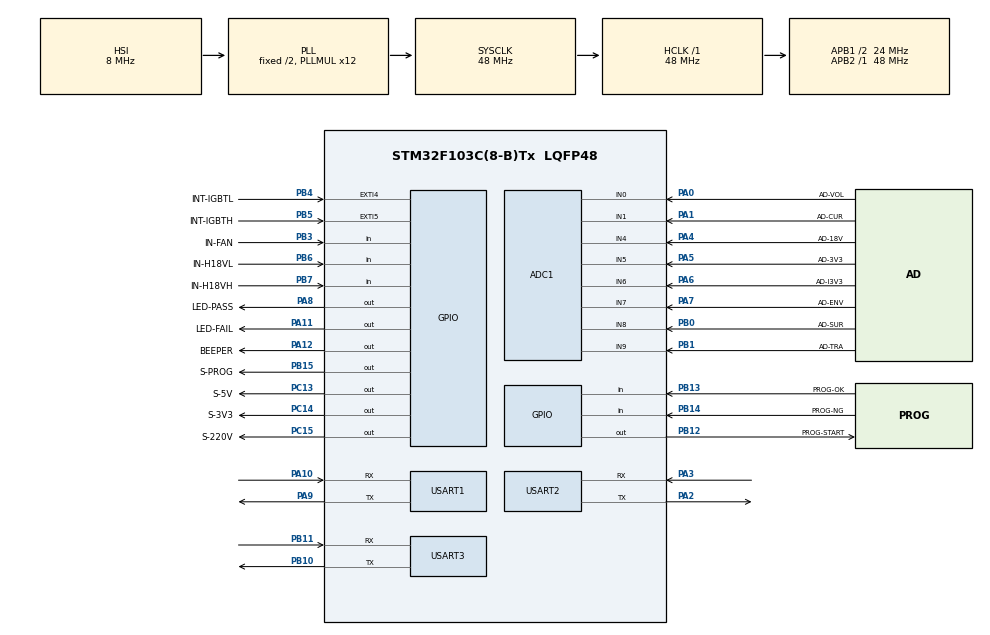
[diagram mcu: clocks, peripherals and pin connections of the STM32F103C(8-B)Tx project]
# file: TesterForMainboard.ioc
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ADC1.Channel-0\#ChannelRegularConversion=ADC_CHANNEL_0
ADC1.ContinuousConvMode=DISABLE
ADC1.DataAlign=ADC_DATAALIGN_RIGHT
ADC1.DiscontinuousConvMode=DISABLE
ADC1.EnableAnalogWatchDog=false
ADC1.EnableRegularConversion=ENABLE
ADC1.ExternalTrigConv=ADC_SOFTWARE_START
ADC1.ExternalTrigConvEdgeChoice=NONE
ADC1.InjNumberOfConversion=0
ADC1.NbrOfConversion=1
ADC1.NbrOfConversionFlag=1
ADC1.Rank-0\#ChannelRegularConversion=1
ADC1.SamplingTime-0\#ChannelRegularConversion=ADC_SAMPLETIME_1CYCLE_5
ADC1.ScanConvMode=ADC_SCAN_DISABLE
ADC1.master=1
Dma.ADC1.6.Direction=DMA_PERIPH_TO_MEMORY
Dma.ADC1.6.Instance=DMA1_Channel1
Dma.ADC1.6.MemDataAlignment=DMA_MDATAALIGN_HALFWORD
Dma.ADC1.6.MemInc=DMA_MINC_ENABLE
Dma.ADC1.6.Mode=DMA_CIRCULAR
Dma.ADC1.6.PeriphDataAlignment=DMA_PDATAALIGN_HALFWORD
Dma.ADC1.6.PeriphInc=DMA_PINC_DISABLE
Dma.ADC1.6.Priority=DMA_PRIORITY_LOW
Dma.Request0=USART2_RX
Dma.Request1=USART2_TX
Dma.Request2=USART3_RX
Dma.Request3=USART3_TX
Dma.Request4=USART1_RX
Dma.Request5=USART1_TX
Dma.Request6=ADC1
Dma.USART1_RX.4.Direction=DMA_PERIPH_TO_MEMORY
Dma.USART1_RX.4.Instance=DMA1_Channel5
Dma.USART1_RX.4.MemDataAlignment=DMA_MDATAALIGN_BYTE
Dma.USART1_RX.4.MemInc=DMA_MINC_ENABLE
Dma.USART1_RX.4.Mode=DMA_NORMAL
Dma.USART1_RX.4.PeriphDataAlignment=DMA_PDATAALIGN_BYTE
Dma.USART1_RX.4.PeriphInc=DMA_PINC_DISABLE
Dma.USART1_RX.4.Priority=DMA_PRIORITY_LOW
Dma.USART1_TX.5.Direction=DMA_MEMORY_TO_PERIPH
Dma.USART1_TX.5.Instance=DMA1_Channel4
Dma.USART1_TX.5.MemDataAlignment=DMA_MDATAALIGN_BYTE
Dma.USART1_TX.5.MemInc=DMA_MINC_ENABLE
Dma.USART1_TX.5.Mode=DMA_NORMAL
Dma.USART1_TX.5.PeriphDataAlignment=DMA_PDATAALIGN_BYTE
Dma.USART1_TX.5.PeriphInc=DMA_PINC_DISABLE
Dma.USART1_TX.5.Priority=DMA_PRIORITY_LOW
Dma.USART2_RX.0.Direction=DMA_PERIPH_TO_MEMORY
Dma.USART2_RX.0.Instance=DMA1_Channel6
Dma.USART2_RX.0.MemDataAlignment=DMA_MDATAALIGN_BYTE
Dma.USART2_RX.0.MemInc=DMA_MINC_ENABLE
Dma.USART2_RX.0.Mode=DMA_NORMAL
Dma.USART2_RX.0.PeriphDataAlignment=DMA_PDATAALIGN_BYTE
Dma.USART2_RX.0.PeriphInc=DMA_PINC_DISABLE
Dma.USART2_RX.0.Priority=DMA_PRIORITY_LOW
Dma.USART2_TX.1.Direction=DMA_MEMORY_TO_PERIPH
Dma.USART2_TX.1.Instance=DMA1_Channel7
Dma.USART2_TX.1.MemDataAlignment=DMA_MDATAALIGN_BYTE
Dma.USART2_TX.1.MemInc=DMA_MINC_ENABLE
Dma.USART2_TX.1.Mode=DMA_NORMAL
Dma.USART2_TX.1.PeriphDataAlignment=DMA_PDATAALIGN_BYTE
Dma.USART2_TX.1.PeriphInc=DMA_PINC_DISABLE
Dma.USART2_TX.1.Priority=DMA_PRIORITY_LOW
Dma.USART3_RX.2.Direction=DMA_PERIPH_TO_MEMORY
Dma.USART3_RX.2.Instance=DMA1_Channel3
Dma.USART3_RX.2.MemDataAlignment=DMA_MDATAALIGN_BYTE
Dma.USART3_RX.2.MemInc=DMA_MINC_ENABLE
Dma.USART3_RX.2.Mode=DMA_NORMAL
Dma.USART3_RX.2.PeriphDataAlignment=DMA_PDATAALIGN_BYTE
Dma.USART3_RX.2.PeriphInc=DMA_PINC_DISABLE
Dma.USART3_RX.2.Priority=DMA_PRIORITY_LOW
Dma.USART3_TX.3.Direction=DMA_MEMORY_TO_PERIPH
Dma.USART3_TX.3.Instance=DMA1_Channel2
Dma.USART3_TX.3.MemDataAlignment=DMA_MDATAALIGN_BYTE
Dma.USART3_TX.3.MemInc=DMA_MINC_ENABLE
Dma.USART3_TX.3.Mode=DMA_NORMAL
Dma.USART3_TX.3.PeriphDataAlignment=DMA_PDATAALIGN_BYTE
Dma.USART3_TX.3.PeriphInc=DMA_PINC_DISABLE
Dma.USART3_TX.3.Priority=DMA_PRIORITY_LOW
Mcu.Family=STM32F1
Mcu.Name=STM32F103C(8-B)Tx
Mcu.Package=LQFP48
NVIC.DMA1_Channel1_IRQn=true\:0\:0\:false\:false\:true
NVIC.DMA1_Channel2_IRQn=true\:0\:0\:false\:false\:true
NVIC.DMA1_Channel3_IRQn=true\:0\:0\:false\:false\:true
NVIC.DMA1_Channel4_IRQn=true\:0\:0\:false\:false\:true
NVIC.DMA1_Channel5_IRQn=true\:0\:0\:false\:false\:true
NVIC.DMA1_Channel6_IRQn=true\:0\:0\:false\:false\:true
NVIC.DMA1_Channel7_IRQn=true\:0\:0\:false\:false\:true
NVIC.EXTI4_IRQn=true\:0\:0\:false\:false\:true
NVIC.EXTI9_5_IRQn=true\:0\:0\:false\:false\:true
NVIC.PriorityGroup=NVIC_PRIORITYGROUP_4
NVIC.USART1_IRQn=true\:0\:0\:false\:false\:true
NVIC.USART2_IRQn=true\:0\:0\:false\:false\:true
NVIC.USART3_IRQn=true\:0\:0\:false\:false\:true
PA0-WKUP.GPIO_Label=AD-VOL
PA0-WKUP.Signal=ADCx_IN0
PA1.GPIO_Label=AD-CUR
PA1.Signal=ADCx_IN1
PA10.Mode=Asynchronous
PA10.Signal=USART1_RX
PA11.GPIO_Label=LED-FAIL
PA11.PinState=GPIO_PIN_SET
PA11.Signal=GPIO_Output
PA12.GPIO_Label=BEEPER
PA12.PinState=GPIO_PIN_SET
PA12.Signal=GPIO_Output
PA13.Mode=Serial_Wire
PA13.Signal=SYS_JTMS-SWDIO
PA14.Mode=Serial_Wire
PA14.Signal=SYS_JTCK-SWCLK
PA2.Mode=Asynchronous
PA2.Signal=USART2_TX
PA3.Mode=Asynchronous
PA3.Signal=USART2_RX
PA4.GPIO_Label=AD-18V
PA4.Signal=ADCx_IN4
PA5.GPIO_Label=AD-3V3
PA5.Signal=ADCx_IN5
PA6.GPIO_Label=AD-I3V3
PA6.Signal=ADCx_IN6
PA7.GPIO_Label=AD-ENV
PA7.Signal=ADCx_IN7
PA8.GPIO_Label=LED-PASS
PA8.PinState=GPIO_PIN_SET
PA8.Signal=GPIO_Output
PA9.Mode=Asynchronous
PA9.Signal=USART1_TX
PB0.GPIO_Label=AD-SUR
PB0.Signal=ADCx_IN8
PB1.GPIO_Label=AD-TRA
PB1.Signal=ADCx_IN9
PB10.Mode=Asynchronous
PB10.Signal=USART3_TX
PB11.Mode=Asynchronous
PB11.Signal=USART3_RX
PB12.GPIO_Label=PROG-START
PB12.PinState=GPIO_PIN_SET
PB12.Signal=GPIO_Output
PB13.GPIO_Label=PROG-OK
PB13.GPIO_PuPd=GPIO_PULLDOWN
PB13.Signal=GPIO_Input
PB14.GPIO_Label=PROG-NG
PB14.GPIO_PuPd=GPIO_PULLDOWN
PB14.Signal=GPIO_Input
PB15.GPIO_Label=S-PROG
PB15.PinState=GPIO_PIN_SET
PB15.Signal=GPIO_Output
PB3.GPIO_Label=IN-FAN
PB3.GPIO_PuPd=GPIO_PULLDOWN
PB3.Signal=GPIO_Input
PB4.GPIO_Label=INT-IGBTL
PB4.GPIO_PuPd=GPIO_PULLDOWN
PB4.Signal=GPXTI4
PB5.GPIO_Label=INT-IGBTH
PB5.GPIO_PuPd=GPIO_PULLDOWN
PB5.Signal=GPXTI5
PB6.GPIO_Label=IN-H18VL
PB6.GPIO_PuPd=GPIO_PULLDOWN
PB6.Signal=GPIO_Input
PB7.GPIO_Label=IN-H18VH
PB7.GPIO_PuPd=GPIO_PULLDOWN
PB7.Signal=GPIO_Input
PC13-TAMPER-RTC.GPIO_Label=S-5V
PC13-TAMPER-RTC.PinState=GPIO_PIN_SET
PC13-TAMPER-RTC.Signal=GPIO_Output
PC14-OSC32_IN.GPIO_Label=S-3V3
PC14-OSC32_IN.Signal=GPIO_Output
PC15-OSC32_OUT.GPIO_Label=S-220V
PC15-OSC32_OUT.Signal=GPIO_Output
ProjectManager.HeapSize=0x200
ProjectManager.StackSize=0x400
ProjectManager.TargetToolchain=MDK-ARM V5
RCC.ADCPresc=RCC_ADCPCLK2_DIV4
RCC.AHBFreq_Value=48000000
RCC.APB1CLKDivider=RCC_HCLK_DIV2
RCC.APB1Freq_Value=24000000
RCC.APB1TimFreq_Value=48000000
RCC.APB2Freq_Value=48000000
RCC.APB2TimFreq_Value=48000000
RCC.HCLKFreq_Value=48000000
RCC.PLLMUL=RCC_PLL_MUL12
RCC.SYSCLKFreq_VALUE=48000000
RCC.SYSCLKSource=RCC_SYSCLKSOURCE_PLLCLK
RCC.USBFreq_Value=48000000
SH.ADCx_IN0.0=ADC1_IN0,IN0
SH.ADCx_IN1.0=ADC1_IN1,IN1
SH.ADCx_IN4.0=ADC1_IN4,IN4
SH.ADCx_IN5.0=ADC1_IN5,IN5
SH.ADCx_IN6.0=ADC1_IN6,IN6
SH.ADCx_IN7.0=ADC1_IN7,IN7
SH.ADCx_IN8.0=ADC1_IN8,IN8
SH.ADCx_IN9.0=ADC1_IN9,IN9
USART1.VirtualMode=VM_ASYNC
USART2.VirtualMode=VM_ASYNC
USART3.VirtualMode=VM_ASYNC
VP_IWDG_VS_IWDG.Mode=IWDG_Activate
board=TesterForMainboard

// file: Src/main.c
/**
  ******************************************************************************
  * File Name          : main.c
  * Description        : Main program body
  ******************************************************************************
  ** This notice applies to any and all portions of this file
  * that are not between comment pairs USER CODE BEGIN and
  * USER CODE END. Other portions of this file, whether
  * inserted by the user or by software development tools
  * are owned by their respective copyright owners.
  *
  * COPYRIGHT(c) 2017 STMicroelectronics
  *
  * Redistribution and use in source and binary forms, with or without modification,
  * are permitted provided that the following conditions are met:
  *   1. Redistributions of source code must retain the above copyright notice,
  *      this list of conditions and the following disclaimer.
  *   2. Redistributions in binary form must reproduce the above copyright notice,
  *      this list of conditions and the following disclaimer in the documentation
  *      and/or other materials provided with the distribution.
  *   3. Neither the name of STMicroelectronics nor the names of its contributors
  *      may be used to endorse or promote products derived from this software
  *      without specific prior written permission.
  *
  * THIS SOFTWARE IS PROVIDED BY THE COPYRIGHT HOLDERS AND CONTRIBUTORS "AS IS"
  * AND ANY EXPRESS OR IMPLIED WARRANTIES, INCLUDING, BUT NOT LIMITED TO, THE
  * IMPLIED WARRANTIES OF MERCHANTABILITY AND FITNESS FOR A PARTICULAR PURPOSE ARE
  * DISCLAIMED. IN NO EVENT SHALL THE COPYRIGHT HOLDER OR CONTRIBUTORS BE LIABLE
  * FOR ANY DIRECT, INDIRECT, INCIDENTAL, SPECIAL, EXEMPLARY, OR CONSEQUENTIAL
  * DAMAGES (INCLUDING, BUT NOT LIMITED TO, PROCUREMENT OF SUBSTITUTE GOODS OR
  * SERVICES; LOSS OF USE, DATA, OR PROFITS; OR BUSINESS INTERRUPTION) HOWEVER
  * CAUSED AND ON ANY THEORY OF LIABILITY, WHETHER IN CONTRACT, STRICT LIABILITY,
  * OR TORT (INCLUDING NEGLIGENCE OR OTHERWISE) ARISING IN ANY WAY OUT OF THE USE
  * OF THIS SOFTWARE, EVEN IF ADVISED OF THE POSSIBILITY OF SUCH DAMAGE.
  *
  ******************************************************************************
  */
#include "main.h"
#include "stm32f1xx_hal.h"
#include "adc.h"
#include "dma.h"
#include "iwdg.h"
#include "usart.h"
#include "gpio.h"
#include "stdio.h"
#include "..\MyCode\global_variable.h"
/* USER CODE BEGIN Includes */
extern uint8_t LoadTestReference;
/* USER CODE END Includes */

/* USER CODE BEGIN PV */
/* Private variables ---------------------------------------------------------*/

/* USER CODE END PV */

void SystemClock_Config(void);

/* USER CODE BEGIN PFP */
/* Private function prototypes -----------------------------------------------*/
extern void task_scheduler(void) ;
/* USER CODE END PFP */
extern PeripheralState LedBeeper;
extern TestState TestStatus;
extern uint32_t AdcTank[32];

/* USER CODE BEGIN 0 */
int fputc(int ch, FILE *f)
{
      HAL_UART_Transmit(&huart3, (uint8_t *)&ch,1, 0xFFFF);
      return ch;
}

int fgetc(FILE *f)
{
      uint8_t  ch;
      HAL_UART_Receive(&huart3,(uint8_t *)&ch, 1, 0xFFFF);
      return  ch;
}
/* USER CODE END 0 */

int main(void)
{

  /* MCU Configuration----------------------------------------------------------*/

  /* Reset of all peripherals, Initializes the Flash interface and the Systick. */
    HAL_Init();

  /* Configure the system clock */
  SystemClock_Config();

  /* Initialize all configured peripherals */
  MX_GPIO_Init();
  MX_DMA_Init();
  MX_ADC1_Init();
	HAL_ADCEx_Calibration_Start(&hadc1);
	HAL_ADC_Start_DMA(&hadc1,AdcTank,32);
  //MX_IWDG_Init();
  MX_USART1_UART_Init();
	__HAL_UART_ENABLE_IT(&huart1, UART_IT_IDLE);
  MX_USART2_UART_Init();
	__HAL_UART_ENABLE_IT(&huart2, UART_IT_IDLE);
  MX_USART3_UART_Init();

  /* USER CODE BEGIN 2 */
	LedBeeper.beeper=0x15;
	LoadTestReference=1;
	TestStatus.test_step=0;
	TestStatus.error_code =0;
	TestStatus.test_instruction =0;
	TestStatus.test_percent =0;
	//HAL_GPIO_WritePin(S_220V_GPIO_Port,S_220V_Pin,GPIO_PIN_SET);
	 uint16_t i,j;
	 for (i=0;i<1000;i++)
	 {
		 for (j=0;j<255;j++)
		 {}
	 }
  /* USER CODE END 2 */
	printf ("\n\r Mainboard diagnose system started! V0.2");
	/*how to use printf
	1/print string, printf("abcdefg")
	2/print variable ,printf("%d",test) or ("%x",test); //%d output 10formart,%x output 16formart
	3/print string amd variable, printf ("ad_voltage=%d",test);
	*/
//HAL_GPIO_WritePin(GPIOC, S_5V_Pin|S_3V3_Pin|S_LAMP_Pin, GPIO_PIN_SET);
   //HAL_GPIO_WritePin(GPIOD, S_220V_Pin|S_3V4_Pin, GPIO_PIN_SET);
  /* Infinite loop */
  while (1)
  {
    task_scheduler();
  }

}

/** System Clock Configuration
*/
void SystemClock_Config(void)
{

  RCC_OscInitTypeDef RCC_OscInitStruct;
  RCC_ClkInitTypeDef RCC_ClkInitStruct;
  RCC_PeriphCLKInitTypeDef PeriphClkInit;

    /**Initializes the CPU, AHB and APB busses clocks
    */
  RCC_OscInitStruct.OscillatorType = RCC_OSCILLATORTYPE_HSI|RCC_OSCILLATORTYPE_LSI;
  RCC_OscInitStruct.HSIState = RCC_HSI_ON;
  RCC_OscInitStruct.HSICalibrationValue = 16;
  RCC_OscInitStruct.LSIState = RCC_LSI_ON;
  RCC_OscInitStruct.PLL.PLLState = RCC_PLL_ON;
  RCC_OscInitStruct.PLL.PLLSource = RCC_PLLSOURCE_HSI_DIV2;
  RCC_OscInitStruct.PLL.PLLMUL = RCC_PLL_MUL12;
  if (HAL_RCC_OscConfig(&RCC_OscInitStruct) != HAL_OK)
  {
    _Error_Handler(__FILE__, __LINE__);
  }

    /**Initializes the CPU, AHB and APB busses clocks
    */
  RCC_ClkInitStruct.ClockType = RCC_CLOCKTYPE_HCLK|RCC_CLOCKTYPE_SYSCLK
                              |RCC_CLOCKTYPE_PCLK1|RCC_CLOCKTYPE_PCLK2;
  RCC_ClkInitStruct.SYSCLKSource = RCC_SYSCLKSOURCE_PLLCLK;
  RCC_ClkInitStruct.AHBCLKDivider = RCC_SYSCLK_DIV1;
  RCC_ClkInitStruct.APB1CLKDivider = RCC_HCLK_DIV2;
  RCC_ClkInitStruct.APB2CLKDivider = RCC_HCLK_DIV1;

  if (HAL_RCC_ClockConfig(&RCC_ClkInitStruct, FLASH_LATENCY_1) != HAL_OK)
  {
    _Error_Handler(__FILE__, __LINE__);
  }

  PeriphClkInit.PeriphClockSelection = RCC_PERIPHCLK_ADC;
  PeriphClkInit.AdcClockSelection = RCC_ADCPCLK2_DIV4;
  if (HAL_RCCEx_PeriphCLKConfig(&PeriphClkInit) != HAL_OK)
  {
    _Error_Handler(__FILE__, __LINE__);
  }

    /**Configure the Systick interrupt time
    */
  HAL_SYSTICK_Config(HAL_RCC_GetHCLKFreq()/1000);

    /**Configure the Systick
    */
  HAL_SYSTICK_CLKSourceConfig(SYSTICK_CLKSOURCE_HCLK);

  /* SysTick_IRQn interrupt configuration */
  HAL_NVIC_SetPriority(SysTick_IRQn, 0, 0);
}

void _Error_Handler(char * file, int line)
{
  while(1)
  {
  }
}

/************************ (C) COPYRIGHT STMicroelectronics *****END OF FILE****/
